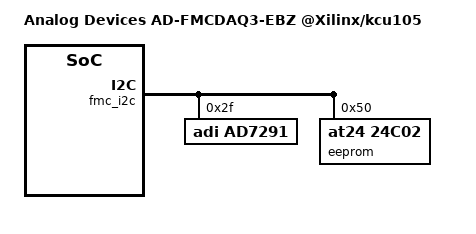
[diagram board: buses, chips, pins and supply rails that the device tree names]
// SPDX-License-Identifier: GPL-2.0
/*
 * Analog Devices AD-FMCDAQ3-EBZ
 * https://wiki.analog.com/resources/eval/user-guides/ad-fmcdaq3-ebz
 *
 * hdl_project: <daq3/kcu105>
 * board_revision: <Rev.C>
 *
 * Copyright (C) 2015-2022 Analog Devices Inc.
 */
/dts-v1/;

#include "kcu105.dtsi"
#include <dt-bindings/jesd204/adxcvr.h>

#define fmc_i2c fmc_hpc_iic
#define fmc_spi axi_spi

/ {
	model = "Analog Devices AD-FMCDAQ3-EBZ @Xilinx/kcu105";
};

&axi_intc {
	xlnx,kind-of-intr = <0xffff05f0>;
};

&amba_pl {
	rx_dma: rx-dmac@7c400000 {
		#dma-cells = <1>;
		compatible = "adi,axi-dmac-1.00.a";
		reg = <0x7c400000 0x1000>;
		interrupt-parent = <&axi_intc>;
		interrupts = <12 2>;
		clocks = <&clk_bus_0>;
	};
	tx_dma: tx-dmac@7c420000 {
		#dma-cells = <1>;
		compatible = "adi,axi-dmac-1.00.a";
		reg = <0x7c420000 0x1000>;
		interrupt-parent = <&axi_intc>;
		interrupts = <13 2>;
		clocks = <&clk_bus_0>;
	};

	axi_ad9680_core: axi-ad9680-hpc@44a10000 {
		compatible = "adi,axi-ad9680-1.0";
		reg = <0x44a10000 0x10000>;
		dmas = <&rx_dma 0>;
		dma-names = "rx";
		spibus-connected = <&adc0_ad9680>;

		/* jesd204-fsm support */
		jesd204-device;
		#jesd204-cells = <2>;
		jesd204-inputs = <&axi_ad9680_jesd 0 0>;
	};

	axi_ad9152_core: axi-ad9152-hpc@44a04000 {
		compatible = "adi,axi-ad9144-1.0";
		reg = <0x44a04000 0x10000>;
		dmas = <&tx_dma 0>;
		dma-names = "tx";
		spibus-connected = <&dac0_ad9152>;
		adi,axi-pl-fifo-enable;

		/* jesd204-fsm support */
		jesd204-device;
		#jesd204-cells = <2>;
		jesd204-inputs = <&axi_ad9152_jesd 1 0>;
	};

	axi_ad9680_jesd: axi-jesd204-rx@44aa0000 {
		compatible = "adi,axi-jesd204-rx-1.0";
		reg = <0x44aa0000 0x4000>;
		interrupt-parent = <&axi_intc>;
		interrupts = <14 2>;

		clocks = <&clk_bus_0>, <&axi_ad9680_adxcvr 1>, <&axi_ad9680_adxcvr 0>;
		clock-names = "s_axi_aclk", "device_clk", "lane_clk";

		#clock-cells = <0>;
		clock-output-names = "jesd_adc_lane_clk";

		/* jesd204-fsm support */
		jesd204-device;
		#jesd204-cells = <2>;
		jesd204-inputs = <&axi_ad9680_adxcvr 0 0>;
	};

	axi_ad9680_adxcvr: axi-ad9680-adxcvr@44a50000 {
		compatible = "adi,axi-adxcvr-1.0";
		reg = <0x44a50000 0x10000>;

		clocks = <&clk0_ad9528 9>;
		clock-names = "conv";

		adi,sys-clk-select = <XCVR_CPLL>;
		adi,out-clk-select = <XCVR_REFCLK>;
		adi,use-lpm-enable;

		#clock-cells = <1>;
		clock-output-names = "adc_gt_clk", "rx_out_clk";

		/* jesd204-fsm support */
		jesd204-device;
		#jesd204-cells = <2>;
	};

	axi_ad9152_jesd: axi-jesd204-tx@44a90000 {
		compatible = "adi,axi-jesd204-tx-1.0";
		reg = <0x44a90000 0x4000>;
		interrupt-parent = <&axi_intc>;
		interrupts = <15 2>;

		clocks = <&clk_bus_0>, <&axi_ad9152_adxcvr 1>, <&axi_ad9152_adxcvr 0>;
		clock-names = "s_axi_aclk", "device_clk", "lane_clk";

		#clock-cells = <0>;
		clock-output-names = "jesd_dac_lane_clk";

		/* jesd204-fsm support */
		jesd204-device;
		#jesd204-cells = <2>;
		jesd204-inputs = <&axi_ad9152_adxcvr 1 0>;
	};

	axi_ad9152_adxcvr: axi-ad9152-adxcvr@44a60000 {
		compatible = "adi,axi-adxcvr-1.0";
		reg = <0x44a60000 0x10000>;

		clocks = <&clk0_ad9528 4>;
		clock-names = "conv";

		adi,sys-clk-select = <XCVR_QPLL>;
		adi,out-clk-select = <XCVR_REFCLK>;
		adi,use-lpm-enable;

		#clock-cells = <1>;
		clock-output-names = "dac_gt_clk", "tx_out_clk";

		/* jesd204-fsm support */
		jesd204-device;
		#jesd204-cells = <2>;
		jesd204-inputs = <&clk0_ad9528 1 0>;
	};
};

#include "adi-daq3.dtsi"

&adc0_ad9680 {
	powerdown-gpios = <&axi_gpio 38 0>;
};

&dac0_ad9152 {
	txen-gpios = <&axi_gpio 37 0>;
	irq-gpios = <&axi_gpio 34 0>;
};

&clk0_ad9528 {
	status0-gpios = <&axi_gpio 32 0>;
	status1-gpios = <&axi_gpio 33 0>;
};

&fmc_i2c {
	ad7291@2f {
		compatible = "adi,ad7291";
		reg = <0x2f>;
	};

	eeprom@50 {
		compatible = "at24,24c02";
		reg = <0x50>;
	};
};
